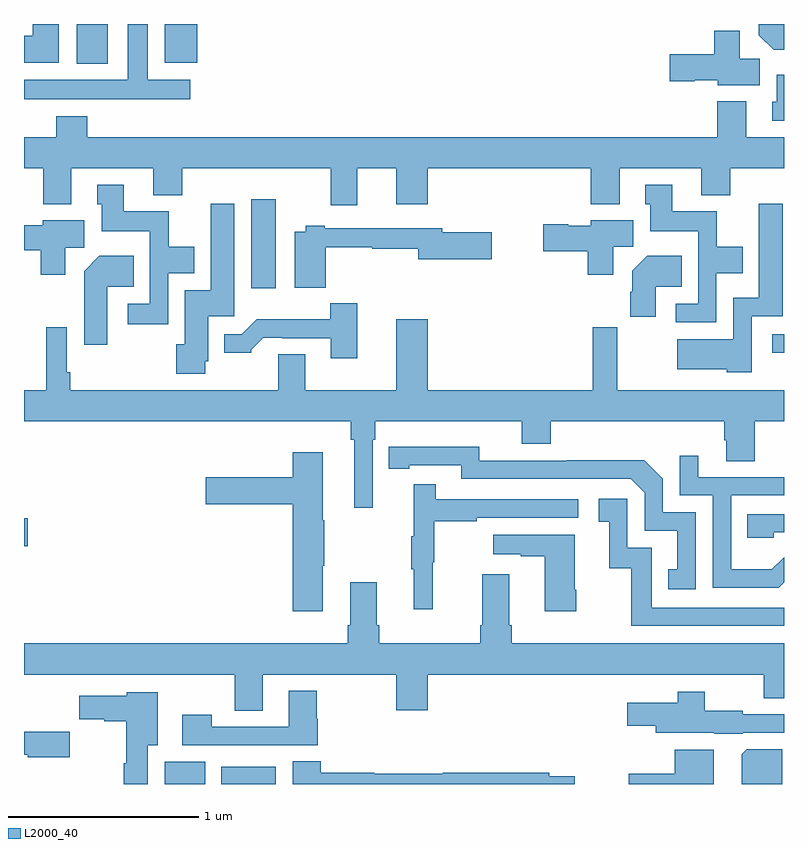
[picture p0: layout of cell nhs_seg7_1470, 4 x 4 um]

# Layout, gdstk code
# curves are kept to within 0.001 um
import gdstk
lib = gdstk.Library(unit=1e-6, precision=1e-09)
def R(c, l, rs):  # rectangles x0, y0, x1, y1
    for r in rs: c.add(gdstk.rectangle(r[:2], r[2:], *l))
def P(c, l, *ps):  # polygons
    for p in ps: c.add(gdstk.Polygon(p, *l))
L2000_40 = (2000, 40)

nhs_seg7_1470 = lib.new_cell('nhs_seg7_1470')
R(nhs_seg7_1470, L2000_40, [(211.742,1040,211.954,1040.116), (212.039,1040,212.326,1040.092), (211,1041.251,211.021,1041.398), (214.938,1042.271,215,1042.368), (212.195,1042.608,212.326,1043.077), (211.277,1043.792,211.441,1044), (211.742,1043.795,211.913,1044)])
P(nhs_seg7_1470, L2000_40, [(211.183,1044),(211.046,1044),(211.046,1043.938),(211,1043.938),(211,1043.795),(211.183,1043.795)],
  [(211.876,1043.707),(211.651,1043.707),(211.651,1044),(211.547,1044),(211.547,1043.707),(211,1043.707),(211,1043.603),(211.876,1043.603)],
  [(215,1044),(214.868,1044),(214.868,1043.942),(214.946,1043.864),(215,1043.864)],
  [(214.873,1043.816),(214.768,1043.816),(214.768,1043.965),(214.634,1043.965),(214.634,1043.84),(214.398,1043.84),(214.398,1043.698),(214.53,1043.698),(214.53,1043.705),(214.65,1043.705),(214.65,1043.678),(214.873,1043.678)],
  [(215,1043.734),(214.961,1043.734),(214.961,1043.592),(214.937,1043.592),(214.937,1043.49),(215,1043.49)],
  [(212.755,1043.24),(212.96,1043.24),(212.96,1043.052),(213.124,1043.052),(213.124,1043.24),(213.983,1043.24),(213.983,1043.051),(214.135,1043.051),(214.135,1043.24),(214.565,1043.24),(214.565,1043.099),(214.718,1043.099),(214.718,1043.24),(215,1043.24),(215,1043.404),(214.801,1043.404),(214.801,1043.593),(214.649,1043.593),(214.649,1043.404),(211.334,1043.404),(211.334,1043.515),(211.169,1043.515),(211.169,1043.404),(211,1043.404),(211,1043.24),(211.102,1043.24),(211.102,1043.051),(211.249,1043.051),(211.249,1043.24),(211.679,1043.24),(211.679,1043.099),(211.832,1043.099),(211.832,1043.24),(212.615,1043.24),(212.615,1043.046),(212.755,1043.046)],
  [(214.644,1042.688),(214.783,1042.688),(214.783,1042.828),(214.647,1042.828),(214.647,1043.014),(214.411,1043.014),(214.411,1043.155),(214.271,1043.155),(214.271,1043.052),(214.295,1043.052),(214.295,1042.91),(214.548,1042.91),(214.548,1042.527),(214.431,1042.527),(214.431,1042.431),(214.644,1042.431)],
  [(211.758,1042.688),(211.897,1042.688),(211.897,1042.828),(211.761,1042.828),(211.761,1043.014),(211.525,1043.014),(211.525,1043.155),(211.385,1043.155),(211.385,1043.052),(211.409,1043.052),(211.409,1042.91),(211.662,1042.91),(211.662,1042.527),(211.545,1042.527),(211.545,1042.419),(211.758,1042.419)],
  [(211.953,1042.224),(211.969,1042.224),(211.969,1042.461),(212.107,1042.461),(212.107,1043.053),(211.982,1043.053),(211.982,1042.6),(211.847,1042.6),(211.847,1042.314),(211.801,1042.314),(211.801,1042.158),(211.953,1042.158)],
  [(214.83,1042.461),(214.993,1042.461),(214.993,1043.053),(214.868,1043.053),(214.868,1042.558),(214.734,1042.558),(214.734,1042.342),(214.437,1042.342),(214.437,1042.184),(214.698,1042.184),(214.698,1042.166),(214.83,1042.166)],
  [(214.102,1042.828),(214.207,1042.828),(214.207,1042.966),(213.984,1042.966),(213.984,1042.939),(213.864,1042.939),(213.864,1042.947),(213.732,1042.947),(213.732,1042.805),(213.968,1042.805),(213.968,1042.68),(214.102,1042.68)],
  [(211.216,1042.822),(211.318,1042.822),(211.318,1042.966),(211.098,1042.966),(211.098,1042.942),(211,1042.942),(211,1042.808),(211.087,1042.808),(211.087,1042.68),(211.216,1042.68)],
  [(212.588,1042.825),(212.832,1042.825),(212.832,1042.818),(213.074,1042.818),(213.074,1042.763),(213.463,1042.763),(213.463,1042.905),(213.202,1042.905),(213.202,1042.926),(212.584,1042.926),(212.584,1042.939),(212.484,1042.939),(212.484,1042.906),(212.426,1042.906),(212.426,1042.613),(212.588,1042.613)],
  [(211.438,1042.616),(211.577,1042.616),(211.577,1042.78),(211.397,1042.78),(211.316,1042.699),(211.316,1042.311),(211.438,1042.311)],
  [(214.324,1042.616),(214.463,1042.616),(214.463,1042.78),(214.28,1042.78),(214.202,1042.702),(214.202,1042.592),(214.19,1042.592),(214.19,1042.458),(214.324,1042.458)],
  [(212.755,1042.531),(212.613,1042.531),(212.613,1042.447),(212.224,1042.447),(212.145,1042.368),(212.054,1042.368),(212.054,1042.271),(212.196,1042.271),(212.196,1042.286),(212.26,1042.35),(212.359,1042.35),(212.359,1042.347),(212.615,1042.347),(212.615,1042.242),(212.755,1042.242)],
  [(212.835,1041.812),(212.849,1041.812),(212.849,1041.908),(213.62,1041.908),(213.62,1041.791),(213.773,1041.791),(213.773,1041.908),(214.685,1041.908),(214.685,1041.81),(214.697,1041.81),(214.697,1041.7),(214.845,1041.7),(214.845,1041.908),(215,1041.908),(215,1042.072),(214.123,1042.072),(214.123,1042.405),(213.994,1042.405),(213.994,1042.072),(213.124,1042.072),(213.124,1042.447),(212.96,1042.447),(212.96,1042.072),(212.479,1042.072),(212.479,1042.262),(212.339,1042.262),(212.339,1042.072),(211.244,1042.072),(211.244,1042.168),(211.224,1042.168),(211.224,1042.405),(211.116,1042.405),(211.116,1042.072),(211,1042.072),(211,1041.908),(212.719,1041.908),(212.719,1041.812),(212.738,1041.812),(212.738,1041.453),(212.835,1041.453)],
  [(214.536,1041.429),(214.362,1041.429),(214.362,1041.606),(214.264,1041.704),(213.856,1041.704),(213.856,1041.702),(213.396,1041.702),(213.396,1041.775),(212.92,1041.774),(212.92,1041.658),(213.028,1041.658),(213.028,1041.678),(213.3,1041.678),(213.3,1041.606),(214.194,1041.606),(214.266,1041.534),(214.266,1041.333),(214.439,1041.333),(214.439,1041.129),(214.39,1041.129),(214.39,1041.024),(214.536,1041.024)],
  [(212.572,1041.148),(212.58,1041.148),(212.58,1041.389),(212.572,1041.389),(212.572,1041.745),(212.414,1041.745),(212.414,1041.615),(211.956,1041.615),(211.956,1041.473),(212.414,1041.473),(212.414,1040.91),(212.572,1040.91)],
  [(215,1041.061),(215,1041.194),(214.936,1041.13),(214.722,1041.13),(214.722,1041.519),(215,1041.519),(215,1041.615),(214.549,1041.615),(214.549,1041.727),(214.452,1041.727),(214.452,1041.519),(214.626,1041.519),(214.626,1041.033),(214.972,1041.033)],
  [(213.152,1041.168),(213.16,1041.168),(213.16,1041.382),(213.383,1041.382),(213.383,1041.402),(213.916,1041.402),(213.916,1041.498),(213.167,1041.498),(213.167,1041.577),(213.05,1041.577),(213.05,1041.305),(213.039,1041.305),(213.039,1041.131),(213.05,1041.131),(213.05,1040.919),(213.152,1040.919)],
  [(215,1040.928),(214.305,1040.928),(214.305,1041.243),(214.176,1041.243),(214.176,1041.502),(214.026,1041.502),(214.026,1041.381),(214.079,1041.381),(214.079,1041.135),(214.197,1041.135),(214.197,1040.832),(215,1040.832)],
  [(214.947,1041.324),(215,1041.324),(215,1041.42),(214.807,1041.42),(214.807,1041.297),(214.947,1041.297)],
  [(213.906,1041.022),(213.898,1041.022),(213.898,1041.313),(213.471,1041.313),(213.471,1041.209),(213.614,1041.209),(213.614,1041.199),(213.74,1041.199),(213.74,1040.91),(213.906,1040.91)],
  [(213.553,1040.836),(213.553,1041.103),(213.413,1041.103),(213.413,1040.836),(213.401,1040.836),(213.401,1040.74),(212.87,1040.74),(212.87,1040.836),(212.857,1040.836),(212.857,1041.061),(212.717,1041.061),(212.717,1040.836),(212.705,1040.836),(212.705,1040.74),(211,1040.74),(211,1040.576),(212.11,1040.576),(212.11,1040.386),(212.257,1040.386),(212.257,1040.576),(212.96,1040.576),(212.96,1040.388),(213.124,1040.388),(213.124,1040.576),(214.894,1040.576),(214.894,1040.452),(215,1040.452),(215,1040.74),(213.566,1040.74),(213.566,1040.836)],
  [(212.546,1040.343),(212.541,1040.343),(212.541,1040.491),(212.393,1040.491),(212.393,1040.301),(211.989,1040.301),(211.989,1040.365),(211.833,1040.365),(211.833,1040.205),(212.546,1040.205)],
  [(214.782,1040.271),(215,1040.271),(215,1040.367),(214.782,1040.367),(214.782,1040.386),(214.582,1040.386),(214.582,1040.485),(214.441,1040.485),(214.441,1040.428),(214.176,1040.428),(214.176,1040.306),(214.325,1040.306),(214.325,1040.27),(214.632,1040.27),(214.632,1040.264),(214.782,1040.264)],
  [(211.651,1040.204),(211.705,1040.204),(211.705,1040.482),(211.542,1040.482),(211.542,1040.464),(211.292,1040.464),(211.292,1040.341),(211.422,1040.341),(211.422,1040.33),(211.538,1040.33),(211.538,1040.108),(211.526,1040.108),(211.526,1040),(211.651,1040)],
  [(211.24,1040.274),(211.13,1040.274),(211.13,1040.275),(211,1040.275),(211,1040.153),(211.02,1040.153),(211.02,1040.141),(211.24,1040.141)],
  [(214.99,1040.182),(214.804,1040.182),(214.778,1040.156),(214.778,1040),(214.99,1040)],
  [(214.63,1040.18),(214.424,1040.18),(214.424,1040.053),(214.184,1040.053),(214.184,1040),(214.63,1040)],
  [(213.898,1040.04),(213.764,1040.04),(213.764,1040.06),(213.204,1040.06),(213.204,1040.053),(212.844,1040.053),(212.844,1040.06),(212.561,1040.06),(212.561,1040.12),(212.414,1040.12),(212.414,1040),(213.898,1040)])

lib.write_gds('nhs_seg7_1470.gds')
